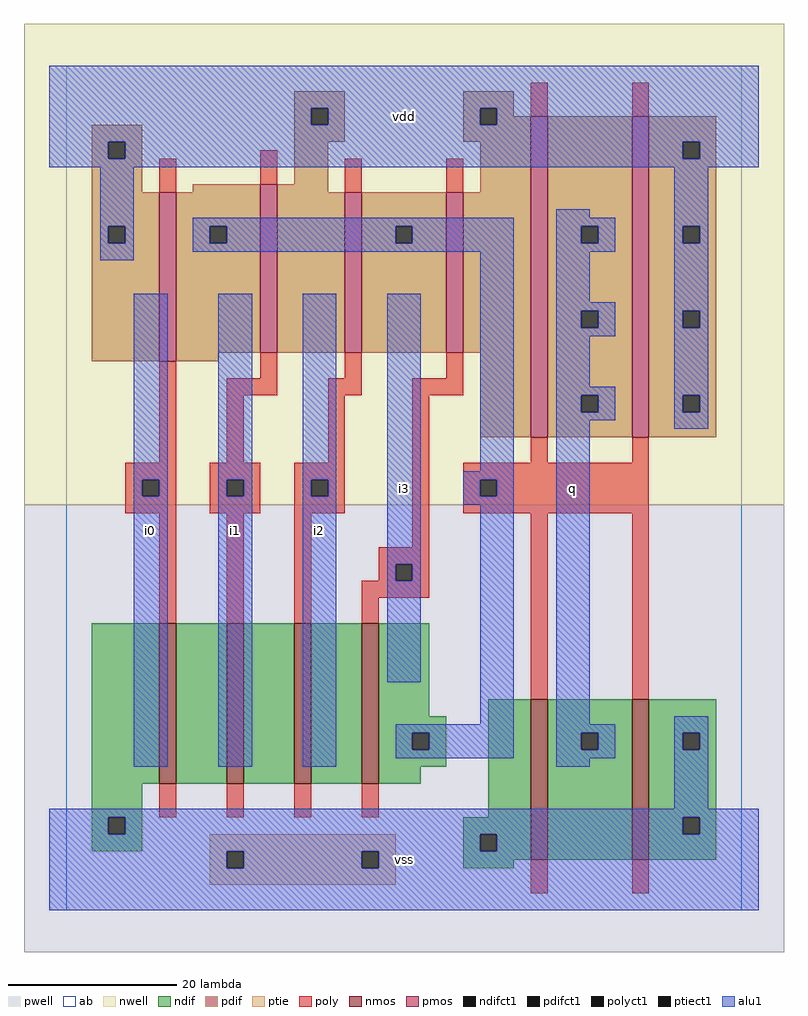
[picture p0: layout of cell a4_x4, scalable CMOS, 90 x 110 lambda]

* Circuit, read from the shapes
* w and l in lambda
.subckt a4_x4 i0 i1 i2 i3 q vdd vss
M1 n1 i0 vss vss nfet w=19 l=2
M2 n2 i1 n1 vss nfet w=19 l=2
M3 n3 i2 n2 vss nfet w=19 l=2
M4 n4 i3 n3 vss nfet w=19 l=2
M5 q n4 vss vss nfet w=19 l=2 m=2
M6 n4 i0 vdd n5 pfet w=20 l=2
M7 vdd i1 n4 n5 pfet w=20 l=2
M8 n4 i2 vdd n5 pfet w=19 l=2
M9 vdd i3 n4 n5 pfet w=19 l=2
M10 q n4 vdd n5 pfet w=38 l=2 m=2
.ends

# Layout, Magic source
magic
tech scmos
<< ab >>
rect 0 0 80 100
<< nwell >>
rect -5 48 85 105
<< pwell >>
rect -5 -5 85 48
<< poly >>
rect 55 94 57 98
rect 67 94 69 98
rect 11 85 13 89
rect 23 86 25 90
rect 33 85 35 89
rect 45 85 47 89
rect 11 53 13 65
rect 23 63 25 66
rect 33 63 35 66
rect 45 63 47 66
rect 19 61 25 63
rect 31 61 35 63
rect 41 61 47 63
rect 19 53 21 61
rect 31 53 33 61
rect 7 51 13 53
rect 7 49 9 51
rect 11 49 13 51
rect 7 47 13 49
rect 17 51 23 53
rect 17 49 19 51
rect 21 49 23 51
rect 17 47 23 49
rect 27 51 33 53
rect 27 49 29 51
rect 31 49 33 51
rect 27 47 33 49
rect 11 34 13 47
rect 19 34 21 47
rect 27 34 29 47
rect 41 43 43 61
rect 55 53 57 56
rect 67 53 69 56
rect 47 51 69 53
rect 47 49 49 51
rect 51 49 69 51
rect 47 47 69 49
rect 37 41 43 43
rect 37 39 39 41
rect 41 39 43 41
rect 35 37 43 39
rect 35 34 37 37
rect 55 25 57 47
rect 67 25 69 47
rect 11 11 13 15
rect 19 11 21 15
rect 27 11 29 15
rect 35 11 37 15
rect 55 2 57 6
rect 67 2 69 6
<< ndif >>
rect 3 15 11 34
rect 13 15 19 34
rect 21 15 27 34
rect 29 15 35 34
rect 37 23 43 34
rect 37 21 45 23
rect 37 19 41 21
rect 43 19 45 21
rect 37 17 45 19
rect 37 15 42 17
rect 3 11 9 15
rect 50 11 55 25
rect 3 9 5 11
rect 7 9 9 11
rect 47 9 55 11
rect 3 7 9 9
rect 47 7 49 9
rect 51 7 55 9
rect 47 6 55 7
rect 57 21 67 25
rect 57 19 61 21
rect 63 19 67 21
rect 57 6 67 19
rect 69 21 77 25
rect 69 19 73 21
rect 75 19 77 21
rect 69 11 77 19
rect 69 9 73 11
rect 75 9 77 11
rect 69 6 77 9
rect 47 5 53 6
<< pdif >>
rect 27 95 33 97
rect 27 93 29 95
rect 31 93 33 95
rect 3 91 9 93
rect 3 89 5 91
rect 7 89 9 91
rect 27 91 33 93
rect 47 95 53 97
rect 47 93 49 95
rect 51 94 53 95
rect 51 93 55 94
rect 47 91 55 93
rect 3 85 9 89
rect 27 86 31 91
rect 15 85 23 86
rect 3 81 11 85
rect 3 79 5 81
rect 7 79 11 81
rect 3 65 11 79
rect 13 81 23 85
rect 13 79 17 81
rect 19 79 23 81
rect 13 66 23 79
rect 25 85 31 86
rect 49 85 55 91
rect 25 66 33 85
rect 35 81 45 85
rect 35 79 39 81
rect 41 79 45 81
rect 35 66 45 79
rect 47 66 55 85
rect 13 65 18 66
rect 49 56 55 66
rect 57 81 67 94
rect 57 79 61 81
rect 63 79 67 81
rect 57 71 67 79
rect 57 69 61 71
rect 63 69 67 71
rect 57 61 67 69
rect 57 59 61 61
rect 63 59 67 61
rect 57 56 67 59
rect 69 91 77 94
rect 69 89 73 91
rect 75 89 77 91
rect 69 81 77 89
rect 69 79 73 81
rect 75 79 77 81
rect 69 71 77 79
rect 69 69 73 71
rect 75 69 77 71
rect 69 61 77 69
rect 69 59 73 61
rect 75 59 77 61
rect 69 56 77 59
<< alu1 >>
rect -2 95 82 100
rect -2 93 29 95
rect 31 93 49 95
rect 51 93 82 95
rect -2 91 82 93
rect -2 89 5 91
rect 7 89 73 91
rect 75 89 82 91
rect -2 88 82 89
rect 4 81 8 88
rect 58 82 62 83
rect 4 79 5 81
rect 7 79 8 81
rect 4 77 8 79
rect 15 81 53 82
rect 15 79 17 81
rect 19 79 39 81
rect 41 79 53 81
rect 15 78 53 79
rect 8 51 12 73
rect 8 49 9 51
rect 11 49 12 51
rect 8 17 12 49
rect 18 51 22 73
rect 18 49 19 51
rect 21 49 22 51
rect 18 17 22 49
rect 28 51 32 73
rect 28 49 29 51
rect 31 49 32 51
rect 28 17 32 49
rect 38 41 42 73
rect 49 52 53 78
rect 47 51 53 52
rect 47 49 49 51
rect 51 49 53 51
rect 47 48 53 49
rect 38 39 39 41
rect 41 39 42 41
rect 38 27 42 39
rect 49 22 53 48
rect 39 21 53 22
rect 39 19 41 21
rect 43 19 53 21
rect 39 18 53 19
rect 58 81 65 82
rect 58 79 61 81
rect 63 79 65 81
rect 58 78 65 79
rect 72 81 76 88
rect 72 79 73 81
rect 75 79 76 81
rect 58 72 62 78
rect 58 71 65 72
rect 58 69 61 71
rect 63 69 65 71
rect 58 68 65 69
rect 72 71 76 79
rect 72 69 73 71
rect 75 69 76 71
rect 58 62 62 68
rect 58 61 65 62
rect 58 59 61 61
rect 63 59 65 61
rect 58 58 65 59
rect 72 61 76 69
rect 72 59 73 61
rect 75 59 76 61
rect 58 22 62 58
rect 72 57 76 59
rect 58 21 65 22
rect 58 19 61 21
rect 63 19 65 21
rect 58 18 65 19
rect 72 21 76 23
rect 72 19 73 21
rect 75 19 76 21
rect 58 17 62 18
rect 72 12 76 19
rect -2 11 82 12
rect -2 9 5 11
rect 7 9 73 11
rect 75 9 82 11
rect -2 7 49 9
rect 51 7 82 9
rect -2 5 19 7
rect 21 5 35 7
rect 37 5 82 7
rect -2 0 82 5
<< ptie >>
rect 17 7 39 9
rect 17 5 19 7
rect 21 5 35 7
rect 37 5 39 7
rect 17 3 39 5
<< nmos >>
rect 11 15 13 34
rect 19 15 21 34
rect 27 15 29 34
rect 35 15 37 34
rect 55 6 57 25
rect 67 6 69 25
<< pmos >>
rect 11 65 13 85
rect 23 66 25 86
rect 33 66 35 85
rect 45 66 47 85
rect 55 56 57 94
rect 67 56 69 94
<< polyct1 >>
rect 9 49 11 51
rect 19 49 21 51
rect 29 49 31 51
rect 49 49 51 51
rect 39 39 41 41
<< ndifct1 >>
rect 41 19 43 21
rect 5 9 7 11
rect 49 7 51 9
rect 61 19 63 21
rect 73 19 75 21
rect 73 9 75 11
<< ptiect1 >>
rect 19 5 21 7
rect 35 5 37 7
<< pdifct1 >>
rect 29 93 31 95
rect 5 89 7 91
rect 49 93 51 95
rect 5 79 7 81
rect 17 79 19 81
rect 39 79 41 81
rect 61 79 63 81
rect 61 69 63 71
rect 61 59 63 61
rect 73 89 75 91
rect 73 79 75 81
rect 73 69 75 71
rect 73 59 75 61
<< labels >>
rlabel alu1 10 45 10 45 6 i0
rlabel alu1 20 45 20 45 6 i1
rlabel alu1 30 45 30 45 6 i2
rlabel alu1 40 6 40 6 6 vss
rlabel alu1 40 50 40 50 6 i3
rlabel alu1 40 94 40 94 6 vdd
rlabel alu1 60 50 60 50 6 q
<< end >>
